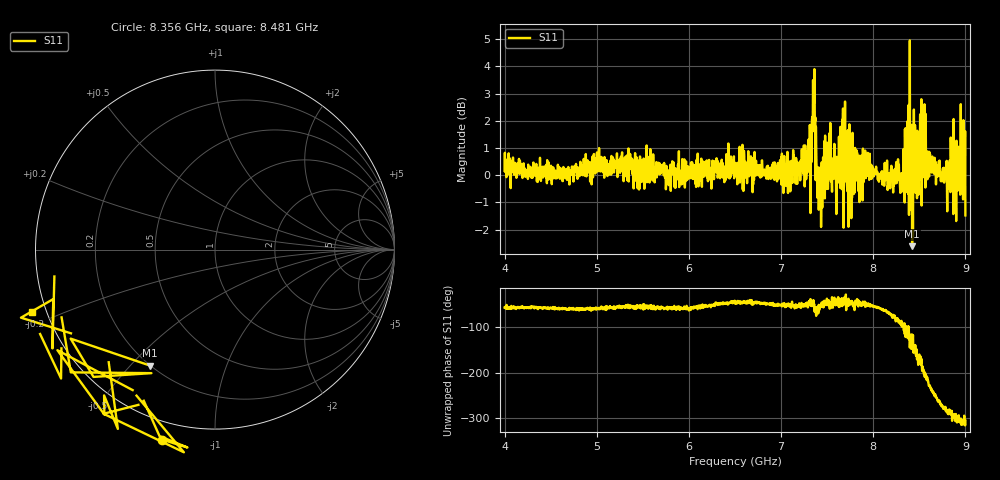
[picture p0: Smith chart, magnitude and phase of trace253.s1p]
! Created with skrf 1.8.0 (http://scikit-rf.org).
# Hz S RI R 50.0
!freq ReS11 ImS11
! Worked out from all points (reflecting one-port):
!   1601 points, 4 GHz to 9 GHz, reference 50 ohm
!   lowest |S11| = -2.6 dB at 8.422 GHz (marker M1), VSWR 6.71, Z = 9.94 - j28.5 ohm
!   phase of S11 starts at -57 deg and turns -248 deg over the sweep
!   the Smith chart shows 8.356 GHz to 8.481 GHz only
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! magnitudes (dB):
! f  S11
! 4 GHz  0.2
! 4.625 GHz  -0.2
! 5.25 GHz  0.3
! 5.875 GHz  0.2
! 6.5 GHz  0.2
! 7.125 GHz  0.3
! 7.294 GHz  0.2
! 7.347 GHz  3.5
! 7.366 GHz  2.1
! 7.4 GHz  0.0
! 7.428 GHz  0.3
! 7.512 GHz  0.0
! 7.616 GHz  -0.3
! 7.669 GHz  1.4
! 7.709 GHz  0.2
! 7.75 GHz  0.7
! 7.928 GHz  0.7
! 8.316 GHz  -0.3
! 8.375 GHz  0.9
! 8.412 GHz  0.4
! 8.422 GHz  -2.6
! 8.447 GHz  1.0
! 8.459 GHz  -0.6
! 8.544 GHz  1.6
! 8.603 GHz  0.9
! 8.8 GHz  -0.6
! 8.972 GHz  0.0
! 9 GHz  -1.5
